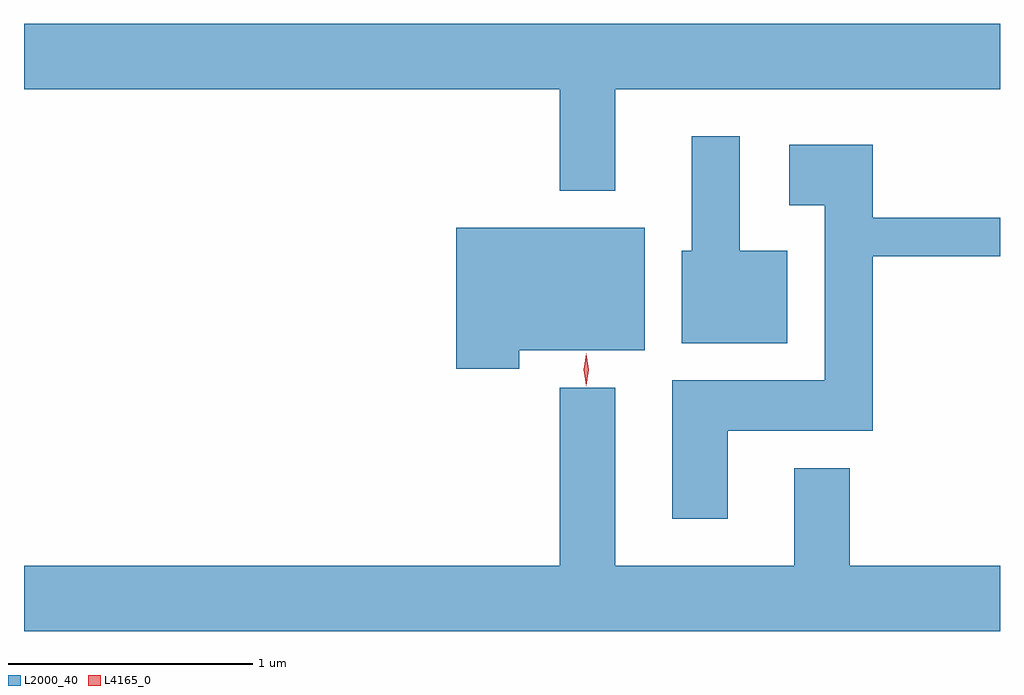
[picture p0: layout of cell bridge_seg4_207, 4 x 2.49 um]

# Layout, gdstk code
import gdstk
lib = gdstk.Library(unit=1e-6, precision=1e-09)
def P(c, l, *ps):  # polygons
    for p in ps: c.add(gdstk.Polygon(p, *l))
L2000_40 = (2000, 40)
L4165_0 = (4165, 0)

bridge_seg4_207 = lib.new_cell('bridge_seg4_207')
P(bridge_seg4_207, L2000_40, [(1004.759,1281.416),(1006.335,1281.416),(1006.335,1281.684),(1002.335,1281.684),(1002.335,1281.416),(1004.531,1281.416),(1004.531,1281.001),(1004.759,1281.001)],
  [(1005.464,1280.754),(1005.269,1280.754),(1005.269,1281.224),(1005.071,1281.224),(1005.071,1280.754),(1005.031,1280.754),(1005.031,1280.376),(1005.464,1280.376)],
  [(1005.219,1280.016),(1005.814,1280.016),(1005.814,1280.731),(1006.335,1280.731),(1006.335,1280.889),(1005.814,1280.889),(1005.814,1281.189),(1005.471,1281.189),(1005.471,1280.941),(1005.616,1280.941),(1005.616,1280.224),(1004.991,1280.224),(1004.991,1279.656),(1005.219,1279.656)],
  [(1004.364,1280.346),(1004.879,1280.346),(1004.879,1280.849),(1004.106,1280.849),(1004.106,1280.271),(1004.364,1280.271)],
  [(1005.491,1279.864),(1005.491,1279.464),(1004.759,1279.464),(1004.759,1280.194),(1004.531,1280.194),(1004.531,1279.464),(1002.335,1279.464),(1002.335,1279.196),(1006.335,1279.196),(1006.335,1279.464),(1005.719,1279.464),(1005.719,1279.864)])
P(bridge_seg4_207, L4165_0, [(1004.639,1280.2),(1004.639,1280.201),(1004.629,1280.267),(1004.639,1280.333),(1004.639,1280.334),(1004.64,1280.333),(1004.649,1280.267),(1004.64,1280.201)])

lib.write_gds('bridge_seg4_207.gds')
